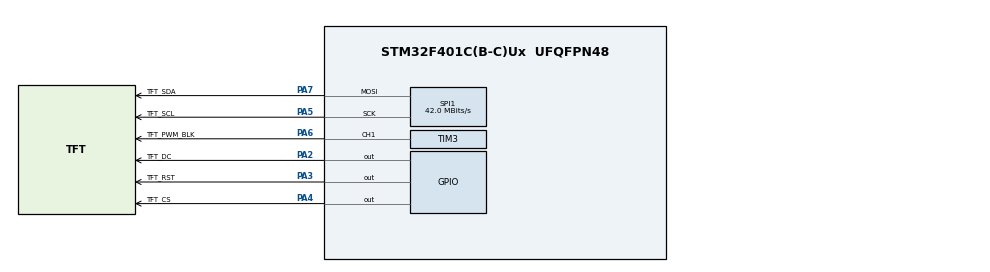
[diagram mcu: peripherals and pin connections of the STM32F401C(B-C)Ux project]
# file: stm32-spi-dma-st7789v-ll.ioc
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Dma.Request0=SPI1_TX
Dma.SPI1_TX.0.Direction=DMA_MEMORY_TO_PERIPH
Dma.SPI1_TX.0.FIFOMode=DMA_FIFOMODE_DISABLE
Dma.SPI1_TX.0.Instance=DMA2_Stream3
Dma.SPI1_TX.0.MemDataAlignment=DMA_MDATAALIGN_HALFWORD
Dma.SPI1_TX.0.MemInc=DMA_MINC_ENABLE
Dma.SPI1_TX.0.Mode=DMA_NORMAL
Dma.SPI1_TX.0.PeriphDataAlignment=DMA_PDATAALIGN_HALFWORD
Dma.SPI1_TX.0.PeriphInc=DMA_PINC_DISABLE
Dma.SPI1_TX.0.Priority=DMA_PRIORITY_LOW
Mcu.Family=STM32F4
Mcu.Name=STM32F401C(B-C)Ux
Mcu.Package=UFQFPN48
NVIC.DMA2_Stream3_IRQn=true\:0\:0\:false\:false\:true\:false\:true\:true
NVIC.PriorityGroup=NVIC_PRIORITYGROUP_4
PA13.Mode=Serial_Wire
PA13.Signal=SYS_JTMS-SWDIO
PA14.Mode=Serial_Wire
PA14.Signal=SYS_JTCK-SWCLK
PA2.GPIO_Label=TFT_DC
PA2.Signal=GPIO_Output
PA3.GPIO_Label=TFT_RST
PA3.Signal=GPIO_Output
PA4.GPIO_Label=TFT_CS
PA4.Signal=GPIO_Output
PA5.GPIO_Label=TFT_SCL
PA5.Mode=TX_Only_Simplex_Unidirect_Master
PA5.Signal=SPI1_SCK
PA6.GPIO_Label=TFT_PWM_BLK
PA6.Signal=S_TIM3_CH1
PA7.GPIO_Label=TFT_SDA
PA7.Mode=TX_Only_Simplex_Unidirect_Master
PA7.Signal=SPI1_MOSI
PH0\ -\ OSC_IN.Mode=HSE-External-Oscillator
PH0\ -\ OSC_IN.Signal=RCC_OSC_IN
PH1\ -\ OSC_OUT.Mode=HSE-External-Oscillator
PH1\ -\ OSC_OUT.Signal=RCC_OSC_OUT
ProjectManager.HeapSize=0x200
ProjectManager.StackSize=0x400
ProjectManager.TargetToolchain=STM32CubeIDE
RCC.48MHZClocksFreq_Value=42000000
RCC.AHBFreq_Value=84000000
RCC.APB1CLKDivider=RCC_HCLK_DIV2
RCC.APB1Freq_Value=42000000
RCC.APB1TimFreq_Value=84000000
RCC.APB2Freq_Value=84000000
RCC.APB2TimFreq_Value=84000000
RCC.CortexFreq_Value=84000000
RCC.EnbaleCSS=true
RCC.HCLKFreq_Value=84000000
RCC.HSE_VALUE=25000000
RCC.HSI_VALUE=16000000
RCC.LSE_VALUE=32768
RCC.PLLM=25
RCC.PLLN=168
RCC.PLLSourceVirtual=RCC_PLLSOURCE_HSE
RCC.SYSCLKFreq_VALUE=84000000
RCC.SYSCLKSource=RCC_SYSCLKSOURCE_PLLCLK
RCC.VCOOutputFreq_Value=168000000
SH.S_TIM3_CH1.0=TIM3_CH1,PWM Generation1 CH1
SPI1.BaudRatePrescaler=SPI_BAUDRATEPRESCALER_2
SPI1.CLKPolarity=SPI_POLARITY_HIGH
SPI1.CalculateBaudRate=42.0 MBits/s
SPI1.DataSize=SPI_DATASIZE_16BIT
SPI1.Direction=SPI_DIRECTION_2LINES
SPI1.Mode=SPI_MODE_MASTER
SPI1.VirtualType=VM_MASTER
TIM3.Channel-PWM\ Generation1\ CH1=TIM_CHANNEL_1
TIM3.Period=209
TIM3.Prescaler=999
TIM3.Pulse-PWM\ Generation1\ CH1=105
board=custom

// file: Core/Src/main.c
/* USER CODE BEGIN Header */
/**
  ******************************************************************************
  * @file           : main.c
  * @brief          : Main program body
  ******************************************************************************
  * @attention
  *
  * Copyright (c) 2026 STMicroelectronics.
  * All rights reserved.
  *
  * This software is licensed under terms that can be found in the LICENSE file
  * in the root directory of this software component.
  * If no LICENSE file comes with this software, it is provided AS-IS.
  *
  ******************************************************************************
  */
/* USER CODE END Header */
#include "main.h"

/* USER CODE BEGIN Includes */
#include "display.h"
#include "st7789.h"
#include <stdlib.h>
/* USER CODE END Includes */

/* USER CODE BEGIN PV */
volatile uint32_t millis = 0;
/* USER CODE END PV */

void SystemClock_Config(void);
static void MX_GPIO_Init(void);
static void MX_DMA_Init(void);
static void MX_SPI1_Init(void);
static void MX_TIM3_Init(void);

int main(void)
{

  /* MCU Configuration--------------------------------------------------------*/

  /* Reset of all peripherals, Initializes the Flash interface and the Systick. */
  LL_APB2_GRP1_EnableClock(LL_APB2_GRP1_PERIPH_SYSCFG);
  LL_APB1_GRP1_EnableClock(LL_APB1_GRP1_PERIPH_PWR);

  /* System interrupt init*/
  NVIC_SetPriorityGrouping(NVIC_PRIORITYGROUP_4);

  /* SysTick_IRQn interrupt configuration */
  NVIC_SetPriority(SysTick_IRQn, NVIC_EncodePriority(NVIC_GetPriorityGrouping(),15, 0));

  /* Configure the system clock */
  SystemClock_Config();

  /* USER CODE BEGIN SysInit */
  SysTick_Config(84000);
  /* USER CODE END SysInit */

  /* Initialize all configured peripherals */
  MX_GPIO_Init();
  MX_DMA_Init();
  MX_SPI1_Init();
  MX_TIM3_Init();
  /* USER CODE BEGIN 2 */

  LCD_DMA_TypeDef dma_tx = {
      .dma = DMA2,
      .stream = LL_DMA_STREAM_3,
  };
  LCD_BackLight_data bkl_data = {
      .htim_bk = TIM3,
      .channel_htim_bk = LL_TIM_CHANNEL_CH1,
      .blk_port = 0,
      .blk_pin = 0,
      .bk_percent = 50,
  };
  LCD_SPI_Connected_data spi_con = {
      .spi = SPI1,
      .dma_tx = dma_tx,
      .reset_port = TFT_RST_GPIO_Port,
      .reset_pin = TFT_RST_Pin,
      .dc_port = TFT_DC_GPIO_Port,
      .dc_pin = TFT_DC_Pin,
      .cs_port = TFT_CS_GPIO_Port,
      .cs_pin = TFT_CS_Pin,
  };

  LCD_Handler lcd1;
  LCD_Handler *lcd = LCD_DisplayAdd(
      0,
      &lcd1,
      ST7789_CONTROLLER_WIDTH,
      ST7789_CONTROLLER_HEIGHT,
      ST7789_CONTROLLER_WIDTH,
      ST7789_CONTROLLER_HEIGHT,
      0,
      0,
      PAGE_ORIENTATION_LANDSCAPE,
      ST7789_Init,
      ST7789_SetWindow,
      ST7789_SleepIn,
      ST7789_SleepOut,
      &spi_con,
      LCD_DATA_16BIT_BUS,
      bkl_data
  );

  LCD = lcd; // LCD is global vairable for current display in "display.c"
  LCD_Init(lcd);
  LCD_Fill(lcd, ~COLOR_BLUE);
  LCD_WriteString(lcd, 10, 10, "LCD Example", &Font_15x25, ~COLOR_WHITE, ~COLOR_RED, LCD_SYMBOL_PRINT_FAST);
  LL_mDelay(2000);

  /* USER CODE END 2 */

  /* Infinite loop */
  /* USER CODE BEGIN WHILE */
  uint32_t tick;
  uint32_t frames;
  char buff[5];

  const uint32_t colors[] = {
      ~COLOR_RED,
      ~COLOR_OLIVE,
      ~COLOR_GREEN,
      ~COLOR_CYAN,
      ~COLOR_BLUE,
  };
  const uint8_t num_colors = sizeof(colors) / sizeof(colors[0]);
  uint8_t color_index = 0;
  uint8_t r = 0, g = 0, b = 0;

  while (1) {
      frames = 0;
      tick = millis;
      uint32_t color = colors[color_index];
      color_index = (color_index + 1) % num_colors;

      while (millis - tick < 1000) {
        LCD_Fill(lcd, color);

//        LCD_Fill(lcd, (r << 16) | (g << 8) | b);
//        r++; g += 2; b += 4;

        frames++;
      }

      utoa(frames, buff, 5);
      LCD_WriteString(lcd, 10, 10, buff, &Font_15x25, ~COLOR_WHITE, ~COLOR_RED, LCD_SYMBOL_PRINT_FAST);
      LL_mDelay(1000);

    /* USER CODE END WHILE */

  }
}

void SystemClock_Config(void)
{
  LL_FLASH_SetLatency(LL_FLASH_LATENCY_2);
  while(LL_FLASH_GetLatency()!= LL_FLASH_LATENCY_2)
  {
  }
  LL_PWR_SetRegulVoltageScaling(LL_PWR_REGU_VOLTAGE_SCALE2);
  LL_RCC_HSE_Enable();

   /* Wait till HSE is ready */
  while(LL_RCC_HSE_IsReady() != 1)
  {

  }
  LL_RCC_HSE_EnableCSS();
  LL_RCC_PLL_ConfigDomain_SYS(LL_RCC_PLLSOURCE_HSE, LL_RCC_PLLM_DIV_25, 168, LL_RCC_PLLP_DIV_2);
  LL_RCC_PLL_Enable();

   /* Wait till PLL is ready */
  while(LL_RCC_PLL_IsReady() != 1)
  {

  }
  while (LL_PWR_IsActiveFlag_VOS() == 0)
  {
  }
  LL_RCC_SetAHBPrescaler(LL_RCC_SYSCLK_DIV_1);
  LL_RCC_SetAPB1Prescaler(LL_RCC_APB1_DIV_2);
  LL_RCC_SetAPB2Prescaler(LL_RCC_APB2_DIV_1);
  LL_RCC_SetSysClkSource(LL_RCC_SYS_CLKSOURCE_PLL);

   /* Wait till System clock is ready */
  while(LL_RCC_GetSysClkSource() != LL_RCC_SYS_CLKSOURCE_STATUS_PLL)
  {

  }
  LL_Init1msTick(84000000);
  LL_SetSystemCoreClock(84000000);
  LL_RCC_SetTIMPrescaler(LL_RCC_TIM_PRESCALER_TWICE);
}

static void MX_SPI1_Init(void)
{

  LL_SPI_InitTypeDef SPI_InitStruct = {0};

  LL_GPIO_InitTypeDef GPIO_InitStruct = {0};

  /* Peripheral clock enable */
  LL_APB2_GRP1_EnableClock(LL_APB2_GRP1_PERIPH_SPI1);

  LL_AHB1_GRP1_EnableClock(LL_AHB1_GRP1_PERIPH_GPIOA);
  /**SPI1 GPIO Configuration
  PA5   ------> SPI1_SCK
  PA7   ------> SPI1_MOSI
  */
  GPIO_InitStruct.Pin = TFT_SCL_Pin|TFT_SDA_Pin;
  GPIO_InitStruct.Mode = LL_GPIO_MODE_ALTERNATE;
  GPIO_InitStruct.Speed = LL_GPIO_SPEED_FREQ_VERY_HIGH;
  GPIO_InitStruct.OutputType = LL_GPIO_OUTPUT_PUSHPULL;
  GPIO_InitStruct.Pull = LL_GPIO_PULL_NO;
  GPIO_InitStruct.Alternate = LL_GPIO_AF_5;
  LL_GPIO_Init(GPIOA, &GPIO_InitStruct);

  /* SPI1 DMA Init */

  /* SPI1_TX Init */
  LL_DMA_SetChannelSelection(DMA2, LL_DMA_STREAM_3, LL_DMA_CHANNEL_3);

  LL_DMA_SetDataTransferDirection(DMA2, LL_DMA_STREAM_3, LL_DMA_DIRECTION_MEMORY_TO_PERIPH);

  LL_DMA_SetStreamPriorityLevel(DMA2, LL_DMA_STREAM_3, LL_DMA_PRIORITY_LOW);

  LL_DMA_SetMode(DMA2, LL_DMA_STREAM_3, LL_DMA_MODE_NORMAL);

  LL_DMA_SetPeriphIncMode(DMA2, LL_DMA_STREAM_3, LL_DMA_PERIPH_NOINCREMENT);

  LL_DMA_SetMemoryIncMode(DMA2, LL_DMA_STREAM_3, LL_DMA_MEMORY_INCREMENT);

  LL_DMA_SetPeriphSize(DMA2, LL_DMA_STREAM_3, LL_DMA_PDATAALIGN_HALFWORD);

  LL_DMA_SetMemorySize(DMA2, LL_DMA_STREAM_3, LL_DMA_MDATAALIGN_HALFWORD);

  LL_DMA_DisableFifoMode(DMA2, LL_DMA_STREAM_3);

  /* SPI1 parameter configuration*/
  SPI_InitStruct.TransferDirection = LL_SPI_FULL_DUPLEX;
  SPI_InitStruct.Mode = LL_SPI_MODE_MASTER;
  SPI_InitStruct.DataWidth = LL_SPI_DATAWIDTH_16BIT;
  SPI_InitStruct.ClockPolarity = LL_SPI_POLARITY_HIGH;
  SPI_InitStruct.ClockPhase = LL_SPI_PHASE_1EDGE;
  SPI_InitStruct.NSS = LL_SPI_NSS_SOFT;
  SPI_InitStruct.BaudRate = LL_SPI_BAUDRATEPRESCALER_DIV2;
  SPI_InitStruct.BitOrder = LL_SPI_MSB_FIRST;
  SPI_InitStruct.CRCCalculation = LL_SPI_CRCCALCULATION_DISABLE;
  SPI_InitStruct.CRCPoly = 10;
  LL_SPI_Init(SPI1, &SPI_InitStruct);
  LL_SPI_SetStandard(SPI1, LL_SPI_PROTOCOL_MOTOROLA);

}

static void MX_TIM3_Init(void)
{

  LL_TIM_InitTypeDef TIM_InitStruct = {0};
  LL_TIM_OC_InitTypeDef TIM_OC_InitStruct = {0};

  LL_GPIO_InitTypeDef GPIO_InitStruct = {0};

  /* Peripheral clock enable */
  LL_APB1_GRP1_EnableClock(LL_APB1_GRP1_PERIPH_TIM3);

  TIM_InitStruct.Prescaler = 999;
  TIM_InitStruct.CounterMode = LL_TIM_COUNTERMODE_UP;
  TIM_InitStruct.Autoreload = 209;
  TIM_InitStruct.ClockDivision = LL_TIM_CLOCKDIVISION_DIV1;
  LL_TIM_Init(TIM3, &TIM_InitStruct);
  LL_TIM_DisableARRPreload(TIM3);
  LL_TIM_OC_EnablePreload(TIM3, LL_TIM_CHANNEL_CH1);
  TIM_OC_InitStruct.OCMode = LL_TIM_OCMODE_PWM1;
  TIM_OC_InitStruct.OCState = LL_TIM_OCSTATE_DISABLE;
  TIM_OC_InitStruct.OCNState = LL_TIM_OCSTATE_DISABLE;
  TIM_OC_InitStruct.CompareValue = 105;
  TIM_OC_InitStruct.OCPolarity = LL_TIM_OCPOLARITY_HIGH;
  LL_TIM_OC_Init(TIM3, LL_TIM_CHANNEL_CH1, &TIM_OC_InitStruct);
  LL_TIM_OC_DisableFast(TIM3, LL_TIM_CHANNEL_CH1);
  LL_TIM_SetTriggerOutput(TIM3, LL_TIM_TRGO_RESET);
  LL_TIM_DisableMasterSlaveMode(TIM3);
  LL_AHB1_GRP1_EnableClock(LL_AHB1_GRP1_PERIPH_GPIOA);
  /**TIM3 GPIO Configuration
  PA6   ------> TIM3_CH1
  */
  GPIO_InitStruct.Pin = TFT_PWM_BLK_Pin;
  GPIO_InitStruct.Mode = LL_GPIO_MODE_ALTERNATE;
  GPIO_InitStruct.Speed = LL_GPIO_SPEED_FREQ_LOW;
  GPIO_InitStruct.OutputType = LL_GPIO_OUTPUT_PUSHPULL;
  GPIO_InitStruct.Pull = LL_GPIO_PULL_NO;
  GPIO_InitStruct.Alternate = LL_GPIO_AF_2;
  LL_GPIO_Init(TFT_PWM_BLK_GPIO_Port, &GPIO_InitStruct);

}

static void MX_DMA_Init(void)
{

  /* Init with LL driver */
  /* DMA controller clock enable */
  LL_AHB1_GRP1_EnableClock(LL_AHB1_GRP1_PERIPH_DMA2);

  /* DMA interrupt init */
  /* DMA2_Stream3_IRQn interrupt configuration */
  NVIC_SetPriority(DMA2_Stream3_IRQn, NVIC_EncodePriority(NVIC_GetPriorityGrouping(),0, 0));
  NVIC_EnableIRQ(DMA2_Stream3_IRQn);

}

static void MX_GPIO_Init(void)
{
  LL_GPIO_InitTypeDef GPIO_InitStruct = {0};

  /* GPIO Ports Clock Enable */
  LL_AHB1_GRP1_EnableClock(LL_AHB1_GRP1_PERIPH_GPIOH);
  LL_AHB1_GRP1_EnableClock(LL_AHB1_GRP1_PERIPH_GPIOA);

  /**/
  LL_GPIO_ResetOutputPin(GPIOA, TFT_DC_Pin|TFT_RST_Pin|TFT_CS_Pin);

  /**/
  GPIO_InitStruct.Pin = TFT_DC_Pin|TFT_RST_Pin|TFT_CS_Pin;
  GPIO_InitStruct.Mode = LL_GPIO_MODE_OUTPUT;
  GPIO_InitStruct.Speed = LL_GPIO_SPEED_FREQ_LOW;
  GPIO_InitStruct.OutputType = LL_GPIO_OUTPUT_PUSHPULL;
  GPIO_InitStruct.Pull = LL_GPIO_PULL_NO;
  LL_GPIO_Init(GPIOA, &GPIO_InitStruct);

}

void Error_Handler(void)
{
  __disable_irq();
  while (1)
  {
  }
}
